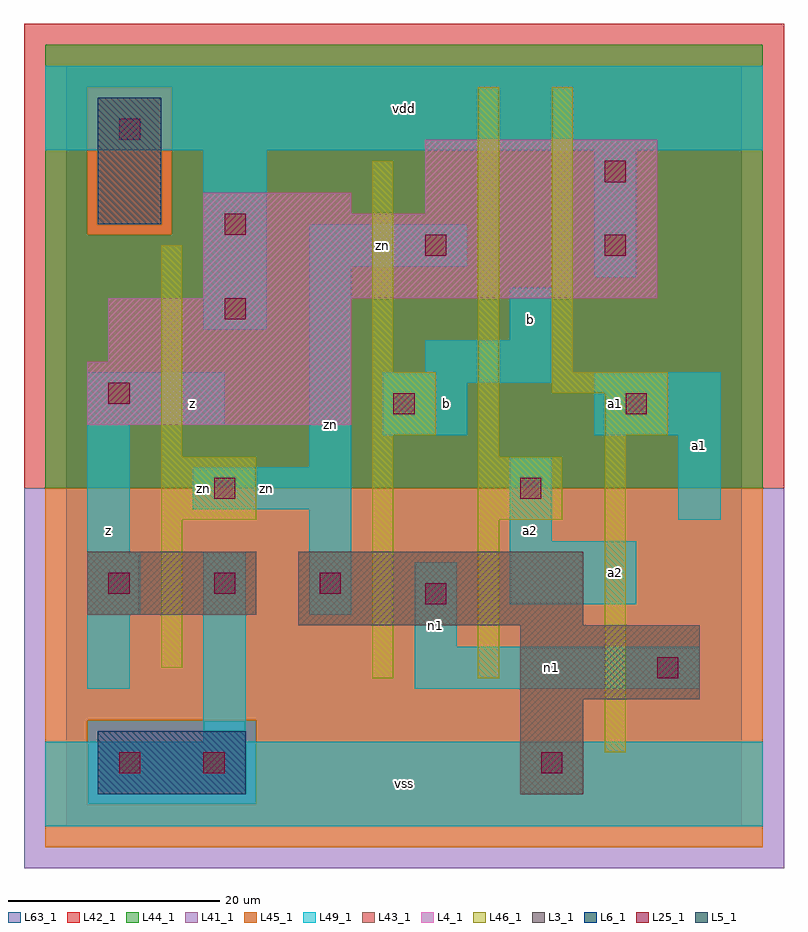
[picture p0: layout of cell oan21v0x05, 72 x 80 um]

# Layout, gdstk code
import gdstk
lib = gdstk.Library(unit=1e-6, precision=1e-09)
def R(c, l, rs):  # rectangles x0, y0, x1, y1
    for r in rs: c.add(gdstk.rectangle(r[:2], r[2:], *l))
def A(c, l, x, y, w, h, nx, ny, dx, dy):  # array of equal rectangles
    R(c, l, [(x+i*dx, y+j*dy, x+i*dx+w, y+j*dy+h) for i in range(nx) for j in range(ny)])
L3_1 = (3, 1)
L4_1 = (4, 1)
L5_1 = (5, 1)
L6_1 = (6, 1)
L25_1 = (25, 1)
L41_1 = (41, 1)
L42_1 = (42, 1)
L43_1 = (43, 1)
L44_1 = (44, 1)
L45_1 = (45, 1)
L46_1 = (46, 1)
L49_1 = (49, 1)
L63_1 = (63, 1)

oan21v0x05 = lib.new_cell('oan21v0x05')
R(oan21v0x05, L3_1, [(43,3,49,12), (43,12,60,19), (22,19,49,26), (2,20,18,26)])
R(oan21v0x05, L4_1, [(2,38,27,44), (4,44,27,50), (13,50,56,58), (13,58,27,60), (34,58,56,65)])
R(oan21v0x05, L5_1, [(3,57,9,69)])
R(oan21v0x05, L6_1, [(3,3,17,9), (3,3,17,9)])
A(oan21v0x05, L25_1, 4, 22, 2, 2, 3, 1, 10, 0)
R(oan21v0x05, L25_1, [(5,5,7,7), (13,5,15,7), (45,5,47,7), (56,14,58,16), (34,21,36,23), (14,31,16,33), (43,31,45,33), (31,39,33,41), (53,39,55,41), (4,40,6,42), (15,48,17,50), (34,54,36,56), (51,54,53,56), (15,56,17,58), (51,61,53,63), (5,65,7,67)])
R(oan21v0x05, L41_1, [(-4,-4,68,32)])
R(oan21v0x05, L42_1, [(-4,32,68,76)])
R(oan21v0x05, L43_1, [(3,3,17,9), (43,3,49,12), (43,12,60,19), (22,19,49,26), (2,20,18,26), (2,38,27,44), (4,44,27,50), (13,50,56,58), (3,57,9,69), (13,58,27,60), (34,58,56,65)])
R(oan21v0x05, L44_1, [(2,2,18,10), (-2,32,66,56), (-2,56,2,70), (10,56,66,70), (-2,70,66,74)])
R(oan21v0x05, L45_1, [(-2,-2,66,2), (-2,2,2,10), (18,2,66,10), (-2,10,66,32), (2,56,10,70)])
R(oan21v0x05, L46_1, [(51,7,53,37), (29,14,31,37), (39,14,41,29), (9,15,11,29), (9,29,18,35), (39,29,47,35), (9,35,11,55), (39,35,41,70), (29,37,35,43), (51,37,57,41), (46,41,57,43), (29,43,31,63), (46,43,48,70)])
R(oan21v0x05, L49_1, [(-2,0,66,8), (13,8,17,26), (2,13,6,20), (33,13,60,17), (33,17,37,25), (2,20,7,26), (23,20,27,30), (42,21,54,27), (2,26,6,38), (42,27,46,35), (58,29,62,37), (12,30,27,34), (23,34,27,53), (30,37,38,42), (50,37,62,43), (2,38,15,43), (30,42,46,43), (34,43,46,46), (42,46,46,51), (13,47,19,64), (50,52,54,64), (23,53,38,57), (-2,64,66,72)])
R(oan21v0x05, L63_1, [(0,0,64,72)])
oan21v0x05.add(gdstk.Label('zn', (13,32), layer=46, texttype=1))
oan21v0x05.add(gdstk.Label('z', (4,28), layer=49, texttype=1))
oan21v0x05.add(gdstk.Label('z', (12,40), layer=49, texttype=1))
oan21v0x05.add(gdstk.Label('zn', (19,32), layer=49, texttype=1))
oan21v0x05.add(gdstk.Label('zn', (25,38), layer=49, texttype=1))
oan21v0x05.add(gdstk.Label('vss', (32,4), layer=49, texttype=1))
oan21v0x05.add(gdstk.Label('n1', (35,19), layer=49, texttype=1))
oan21v0x05.add(gdstk.Label('a2', (44,28), layer=49, texttype=1))
oan21v0x05.add(gdstk.Label('b', (36,40), layer=49, texttype=1))
oan21v0x05.add(gdstk.Label('b', (44,48), layer=49, texttype=1))
oan21v0x05.add(gdstk.Label('zn', (30,55), layer=49, texttype=1))
oan21v0x05.add(gdstk.Label('vdd', (32,68), layer=49, texttype=1))
oan21v0x05.add(gdstk.Label('n1', (46,15), layer=49, texttype=1))
oan21v0x05.add(gdstk.Label('a2', (52,24), layer=49, texttype=1))
oan21v0x05.add(gdstk.Label('a1', (60,36), layer=49, texttype=1))
oan21v0x05.add(gdstk.Label('a1', (52,40), layer=49, texttype=1))

lib.write_gds('oan21v0x05.gds')
